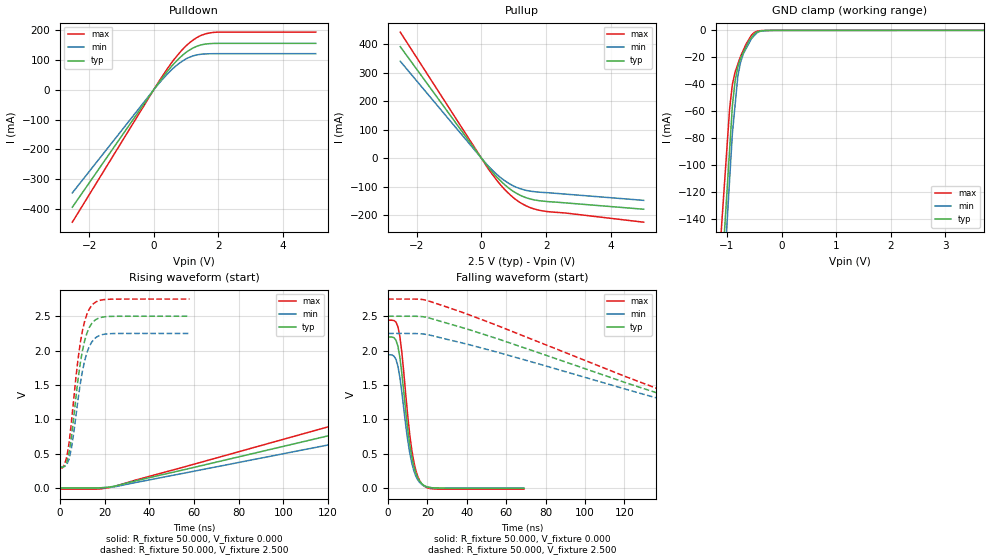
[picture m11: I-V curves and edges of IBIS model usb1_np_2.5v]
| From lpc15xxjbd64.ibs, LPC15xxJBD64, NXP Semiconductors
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[Model]   usb1_np_2.5v
Model_type I/O
Vinl=8.000E-01
Vinh=1.750E+00
Vref=0.000E+00
Rref=1.000E+06
Cref=0.000E+00
Vmeas=1.250E+00
C_comp   2.000E-12   2.000E-12   2.000E-12
[Voltage Range]   2.500E+00   2.250E+00   2.750E+00
[POWER Clamp Reference]   2.500E+00   2.250E+00   2.750E+00
[GND Clamp Reference]   0.000E+00   0.000E+00   0.000E+00
[Pullup Reference]   2.500E+00   2.250E+00   2.750E+00
[Pulldown Reference]   0.000E+00   0.000E+00   0.000E+00
[Temperature Range]   25   85   -40
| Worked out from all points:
|   slope of the pulldown table from 0 to 0.375 V, typ, clamps not added: 6.8 ohm
|   slope of the pullup table from 0 to 0.375 V, typ, clamps not added: 6.99 ohm
|   GND clamp passes 1 mA (typ) near -0.43 V on its own axis
|   rising waveform, R_fixture 50.000, V_fixture 0.000: 20-80 % time 190ns typ, 204ns min, 177ns max; typ from 0 V to 2.2 V
|   falling waveform, R_fixture 50.000, V_fixture 0.000: 20-80 % time 5.54ns typ, 5.62ns min, 5.44ns max; typ from 2.2 V to 0 V
|   rising waveform, R_fixture 50.000, V_fixture 2.500: 20-80 % time 5.36ns typ, 5.45ns min, 5.37ns max; typ from 0.301 V to 2.5 V
|   falling waveform, R_fixture 50.000, V_fixture 2.500: 20-80 % time 143ns typ, 150ns min, 137ns max; typ from 2.5 V to 0.301 V
[GND Clamp]
-2.5V     -1.085A    -1.161A    -972.7mA
-950mV    -88.05mA   -110.3mA   -57.74mA
-900mV    -55.88mA   -76.4mA    -40.03mA
-850mV    -37.37mA   -55.15mA   -30.87mA
-800mV    -27.05mA   -33.9mA    -25.02mA
-750mV    -20.67mA   -23.6mA    -19.17mA
-700mV    -16.45mA   -17.38mA   -14.68mA
-600mV    -8.024mA   -9.842mA   -6.833mA
-500mV    -2.653mA   -3.954mA   -1.548mA
-400mV    -614.5uA   -826.9uA   -269.7uA
-150mV    -32.49uA   -28.84uA   -4.96uA
5V        18.49uA    17.79uA    3.905uA
[Power Clamp]
-2.51V    0A         0A         0A
0V        0A         0A         0A
2.5V      0A         0A         0A
5V        0A         0A         0A
[Pullup]
-2.51V    392.3mA    340.9mA    443.4mA
230mV     -33.95mA   -29.9mA    -40.38mA
470mV     -65.73mA   -56.29mA   -76.87mA
690mV     -90.27mA   -76.71mA   -106.7mA
1.05V     -121.1mA   -100.7mA   -144.5mA
1.43V     -140.7mA   -114.1mA   -170.1mA
1.85V     -150.2mA   -119.8mA   -184.3mA
5.01V     -179.1mA   -148.1mA   -224.8mA
[Pulldown]
-2.52V    -393.9mA   -345.8mA   -444.1mA
160mV     24.62mA    21.35mA    27.98mA
480mV     69.42mA    59.44mA    79.66mA
740mV     100.4mA    84.72mA    116.4mA
960mV     122.2mA    101.4mA    143.1mA
1.18V     138.2mA    112.6mA    163.8mA
1.5V      151.7mA    119.9mA    184.1mA
1.88V     155.9mA    121.4mA    193mA
5.02V     156.1mA    121.5mA    193.9mA
[Rising Waveform]
R_fixture = 50.000
V_fixture = 0.000
V_fixture_min = 0.000
V_fixture_max = 0.000
|  time   V(typ)   V(min)   V(max)
0s        175.6uV    175.7uV    -15.47mV
23ns      19.77mV    13.13mV    12.49mV
124ns     788.9mV    651.3mV    925.5mV
194ns     1.295V     1.073V     1.52V
253ns     1.675V     1.393V     1.961V
291ns     1.872V     1.571V     2.169V
338ns     2.023V     1.728V     2.304V
400ns     2.12V      1.841V     2.381V
472ns     2.168V     1.902V     2.418V
586ns     2.198V     1.941V     2.441V
[Falling Waveform]
R_fixture = 50.000
V_fixture = 0.000
V_fixture_min = 0.000
V_fixture_max = 0.000
|  time   V(typ)   V(min)   V(max)
0s        2.198V     1.941V     2.442V
3ns       2.188V     1.921V     2.438V
5ns       2.063V     1.774V     2.348V
7ns       1.669V     1.393V     1.973V
10ns      853.6mV    693mV      1.048V
12ns      460.5mV    371.5mV    563.7mV
14ns      226.4mV    183mV      269mV
17ns      67.55mV    56.11mV    67.14mV
24ns      2.729mV    2.6mV      -12.71mV
69ns      175.6uV    175.7uV    -14.78mV
[Rising Waveform]
R_fixture = 50.000
V_fixture = 2.500
V_fixture_min = 2.250
V_fixture_max = 2.750
|  time   V(typ)   V(min)   V(max)
0s        301.1mV    307.8mV    293.6mV
2ns       319.4mV    314.6mV    344.4mV
3ns       378.4mV    343.9mV    455.6mV
4ns       512.9mV    421.8mV    658.3mV
6ns       1.006V     780.7mV    1.267V
9ns       1.811V     1.514V     2.108V
11ns      2.147V     1.856V     2.429V
14ns      2.388V     2.117V     2.651V
21ns      2.495V     2.243V     2.746V
58ns      2.5V       2.25V      2.75V
[Falling Waveform]
R_fixture = 50.000
V_fixture = 2.500
V_fixture_min = 2.250
V_fixture_max = 2.750
|  time   V(typ)   V(min)   V(max)
0s        2.5V       2.25V      2.75V
17ns      2.496V     2.244V     2.745V
31ns      2.39V      2.157V     2.623V
165ns     1.126V     1.091V     1.149V
210ns     740.3mV    762.6mV    703.4mV
233ns     570.3mV    612.1mV    520.4mV
259ns     443.1mV    482.3mV    404.8mV
292ns     365.9mV    390.3mV    342mV
334ns     323.3mV    336.5mV    310.2mV
393ns     301.1mV    307.8mV    293.6mV
[Ramp]
dV/dt_r   1.3136E+00/1.8912E-07   1.1585E+00/2.0389E-07   1.4741E+00/1.7664E-07
dV/dt_f   1.3193E+00/1.4271E-07   1.1653E+00/1.4991E-07   1.4738E+00/1.3645E-07
R_load = 50
